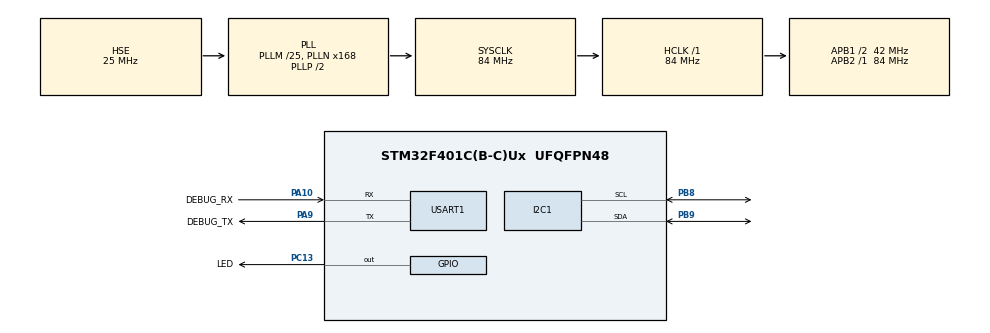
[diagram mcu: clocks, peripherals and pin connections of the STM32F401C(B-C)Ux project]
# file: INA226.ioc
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Mcu.Family=STM32F4
Mcu.Name=STM32F401C(B-C)Ux
Mcu.Package=UFQFPN48
NVIC.PriorityGroup=NVIC_PRIORITYGROUP_4
PA10.GPIO_Label=DEBUG_RX
PA10.Mode=Asynchronous
PA10.Signal=USART1_RX
PA13.Mode=Serial_Wire
PA13.Signal=SYS_JTMS-SWDIO
PA14.Mode=Serial_Wire
PA14.Signal=SYS_JTCK-SWCLK
PA9.GPIO_Label=DEBUG_TX
PA9.Mode=Asynchronous
PA9.Signal=USART1_TX
PB8.Mode=I2C
PB8.Signal=I2C1_SCL
PB9.Mode=I2C
PB9.Signal=I2C1_SDA
PC13-ANTI_TAMP.GPIO_Label=LED
PC13-ANTI_TAMP.Signal=GPIO_Output
PH0\ -\ OSC_IN.Mode=HSE-External-Oscillator
PH0\ -\ OSC_IN.Signal=RCC_OSC_IN
PH1\ -\ OSC_OUT.Mode=HSE-External-Oscillator
PH1\ -\ OSC_OUT.Signal=RCC_OSC_OUT
ProjectManager.HeapSize=0x200
ProjectManager.StackSize=0x400
ProjectManager.TargetToolchain=STM32CubeIDE
RCC.48MHZClocksFreq_Value=42000000
RCC.AHBFreq_Value=84000000
RCC.APB1CLKDivider=RCC_HCLK_DIV2
RCC.APB1Freq_Value=42000000
RCC.APB1TimFreq_Value=84000000
RCC.APB2Freq_Value=84000000
RCC.APB2TimFreq_Value=84000000
RCC.CortexFreq_Value=84000000
RCC.EnbaleCSS=true
RCC.HCLKFreq_Value=84000000
RCC.HSE_VALUE=25000000
RCC.HSI_VALUE=16000000
RCC.LSE_VALUE=32768
RCC.PLLM=25
RCC.PLLN=168
RCC.PLLSourceVirtual=RCC_PLLSOURCE_HSE
RCC.SYSCLKFreq_VALUE=84000000
RCC.SYSCLKSource=RCC_SYSCLKSOURCE_PLLCLK
RCC.VCOOutputFreq_Value=168000000
USART1.VirtualMode=VM_ASYNC
board=custom

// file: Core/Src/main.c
/* USER CODE BEGIN Header */
/**
  ******************************************************************************
  * @file           : main.c
  * @brief          : Main program body
  ******************************************************************************
  * @attention
  *
  * Copyright (c) 2025 STMicroelectronics.
  * All rights reserved.
  *
  * This software is licensed under terms that can be found in the LICENSE file
  * in the root directory of this software component.
  * If no LICENSE file comes with this software, it is provided AS-IS.
  *
  ******************************************************************************
  */
/* USER CODE END Header */
#include "main.h"

/* USER CODE BEGIN Includes */
//need for uart
#include <stdarg.h>
#include <string.h>
#include <stdio.h>

#include <stdbool.h>

/* USER CODE END Includes */

I2C_HandleTypeDef hi2c1;

UART_HandleTypeDef huart1;

/* USER CODE BEGIN PV */
// I²C address (7-bit <<1 for HAL)
#ifndef INA226_I2C_ADDR
  #define INA226_I2C_ADDR   (0x40 << 1)
#endif

// Registers
#define INA226_REG_CONF     0x00
#define INA226_REG_CALIB    0x05

// Conversion settings: 1 sample, 1.1 ms each, continuous shunt+bus
#define INA226_CONF_DEFAULT (0x0000 | 0x0100 | 0x0080 | 0x0007)

// Shunt & range
#define INA226_SHUNT_OHM    0.00075f    // 0.75 mΩ
#define INA226_I_MAX        100.0f      // 100 A

// Derived LSB & calibration
#define INA226_CURRENT_LSB  (INA226_I_MAX / 32768.0f)
#define INA226_CALIB_VALUE  ((uint16_t)(0.00512f / (INA226_CURRENT_LSB * INA226_SHUNT_OHM)))

#define UART1_BUFFER_SIZE 100
uint8_t uart1_rx_buffer[UART1_BUFFER_SIZE];
uint8_t uart1_rx_char;
uint16_t uart1_rx_index = 0;

/* USER CODE END PV */

void SystemClock_Config(void);
static void MX_GPIO_Init(void);
static void MX_I2C1_Init(void);
static void MX_USART1_UART_Init(void);
/* USER CODE BEGIN PFP */
void processUart1Command(char *command); // For USART1 commands
void debugFTDI(const char *fmt, ...);
/* USER CODE END PFP */

/* USER CODE BEGIN 0 */
/**
 * @brief  Initialize the INA226: reset, configure conversion, set calibration.
 * @param  hi2c  Pointer to your HAL I2C handle (e.g. &hi2c1)
 * @return true if all writes succeeded and the device ACK’d, false otherwise
 */
bool INA226_Init(I2C_HandleTypeDef *hi2c)
{
    uint8_t buf[3];

    // 1) Reset device (bit-15 = 1)
    buf[0] = INA226_REG_CONF;
    buf[1] = 0x80;  // reset MSB
    buf[2] = 0x00;  // reset LSB
    if (HAL_I2C_Master_Transmit(hi2c, INA226_I2C_ADDR, buf, 3, HAL_MAX_DELAY) != HAL_OK) {
        return false;
    }
    HAL_Delay(1);

    // 2) Write default configuration
    buf[0] = INA226_REG_CONF;
    buf[1] = (uint8_t)(INA226_CONF_DEFAULT >> 8);
    buf[2] = (uint8_t)(INA226_CONF_DEFAULT & 0xFF);
    if (HAL_I2C_Master_Transmit(hi2c, INA226_I2C_ADDR, buf, 3, HAL_MAX_DELAY) != HAL_OK) {
        return false;
    }

    // 3) Write calibration register
    buf[0] = INA226_REG_CALIB;
    buf[1] = (uint8_t)(INA226_CALIB_VALUE >> 8);
    buf[2] = (uint8_t)(INA226_CALIB_VALUE & 0xFF);
    if (HAL_I2C_Master_Transmit(hi2c, INA226_I2C_ADDR, buf, 3, HAL_MAX_DELAY) != HAL_OK) {
        return false;
    }

    return true;
}
void debugFTDI(const char *fmt, ...) {
	char buf[450];
	va_list args;
	va_start(args, fmt);
	int len = vsnprintf(buf, sizeof(buf), fmt, args);
	va_end(args);

	if (len > 0) {
		// ensure we don’t overrun if vsnprintf truncated
		uint16_t txlen = (len < sizeof(buf)) ? len : (sizeof(buf) - 1);
		HAL_UART_Transmit(&huart1, (uint8_t*) buf, txlen, HAL_MAX_DELAY);
	}
}

/**
 * @brief Processes UART commands received on USART1.
 * @param command The command string to process.
 */
void processUart1Command(char *command) {
	debugFTDI("Received command: [%s]\r\n", command);
	// Remove any trailing \r or \n characters
	size_t len = strlen(command);
	while (len > 0 && (command[len - 1] == '\r' || command[len - 1] == '\n')) {
		command[--len] = '\0';
	}

	// Get the first token separated by "/"
	char *token = strtok(command, "/");
	while (token != NULL) {
		debugFTDI("Processing token: [%s]\r\n", token);
		// Find the colon separator position manually
		char *colonPos = strchr(token, ':');

		if (colonPos != NULL) {
			// Null-terminate the key part
			*colonPos = '\0';
			char *key = token;
			char *valueStr = colonPos + 1;  // Value starts after the colon

			// Debug key-value pair
			char debugPair[100];
			snprintf(debugPair, sizeof(debugPair), "Key: [%s], Value: [%s]\r\n",
					key, valueStr);
			HAL_UART_Transmit(&huart1, (uint8_t*) debugPair, strlen(debugPair),
			HAL_MAX_DELAY);

			if (strcmp(key, "WRITE_ENABLE_PWM") == 0) {
//				char msg[50];
//				snprintf(msg, sizeof(msg), "WRITE_ENABLE_PWM command: %s\r\n",
//						key);
//				HAL_UART_Transmit(&huart1, (uint8_t*) msg, strlen(msg),
//				HAL_MAX_DELAY);
//				enablePwmMain();
			}
			// Other command handlers follow the same pattern...
			else {
				// Unknown command
				char msg[50];
				snprintf(msg, sizeof(msg), "Unknown command: %s\r\n", key);
				HAL_UART_Transmit(&huart1, (uint8_t*) msg, strlen(msg),
				HAL_MAX_DELAY);
			}
		}

		// Get next token
		token = strtok(NULL, "/");
	}
}
/**
 * @brief UART Receive Complete Callback with improved buffering.
 * @param huart UART handle.
 */
void HAL_UART_RxCpltCallback(UART_HandleTypeDef *huart) {
	if (huart->Instance == USART1) {
		HAL_GPIO_TogglePin(LED_GPIO_Port, LED_Pin);

		// Check if the received character is a newline
		if (uart1_rx_char == '\n') {
			// Terminate the string properly
			if (uart1_rx_index > 0
					&& uart1_rx_buffer[uart1_rx_index - 1] == '\r') {
				uart1_rx_buffer[uart1_rx_index - 1] = '\0'; // Remove \r
			} else {
				uart1_rx_buffer[uart1_rx_index] = '\0'; // Just add null terminator
			}

			// Process the complete command
			processUart1Command((char*) uart1_rx_buffer);

			// Reset buffer index for next command
			uart1_rx_index = 0;
		}
		// Handle normal character storage (not newline or carriage return)
		else if (uart1_rx_char != '\r'
				&& uart1_rx_index < UART1_BUFFER_SIZE - 1) {
			uart1_rx_buffer[uart1_rx_index++] = uart1_rx_char;
		}

		// Always restart reception for next character
		HAL_UART_Receive_IT(&huart1, &uart1_rx_char, 1);
	}
}
/* USER CODE END 0 */

int main(void)
{

  /* MCU Configuration--------------------------------------------------------*/

  /* Reset of all peripherals, Initializes the Flash interface and the Systick. */
  HAL_Init();

  /* Configure the system clock */
  SystemClock_Config();

  /* Initialize all configured peripherals */
  MX_GPIO_Init();
  MX_I2C1_Init();
  MX_USART1_UART_Init();
  /* USER CODE BEGIN 2 */
  HAL_UART_Receive_IT(&huart1, &uart1_rx_char, 1);  // Start UART reception
  if (!INA226_Init(&hi2c1)) {
      debugFTDI("INA226 init FAILED!\r\n");
      while (1);
  }
  /* USER CODE END 2 */

  /* Infinite loop */
  /* USER CODE BEGIN WHILE */
  while (1)
  {
	  HAL_GPIO_TogglePin(LED_GPIO_Port, LED_Pin);
	  TestINA226(&hi2c1);
	  HAL_Delay(500);
    /* USER CODE END WHILE */

  }
}

void SystemClock_Config(void)
{
  RCC_OscInitTypeDef RCC_OscInitStruct = {0};
  RCC_ClkInitTypeDef RCC_ClkInitStruct = {0};

  /** Configure the main internal regulator output voltage
  */
  __HAL_RCC_PWR_CLK_ENABLE();
  __HAL_PWR_VOLTAGESCALING_CONFIG(PWR_REGULATOR_VOLTAGE_SCALE2);

  /** Initializes the RCC Oscillators according to the specified parameters
  * in the RCC_OscInitTypeDef structure.
  */
  RCC_OscInitStruct.OscillatorType = RCC_OSCILLATORTYPE_HSE;
  RCC_OscInitStruct.HSEState = RCC_HSE_ON;
  RCC_OscInitStruct.PLL.PLLState = RCC_PLL_ON;
  RCC_OscInitStruct.PLL.PLLSource = RCC_PLLSOURCE_HSE;
  RCC_OscInitStruct.PLL.PLLM = 25;
  RCC_OscInitStruct.PLL.PLLN = 168;
  RCC_OscInitStruct.PLL.PLLP = RCC_PLLP_DIV2;
  RCC_OscInitStruct.PLL.PLLQ = 4;
  if (HAL_RCC_OscConfig(&RCC_OscInitStruct) != HAL_OK)
  {
    Error_Handler();
  }

  /** Initializes the CPU, AHB and APB buses clocks
  */
  RCC_ClkInitStruct.ClockType = RCC_CLOCKTYPE_HCLK|RCC_CLOCKTYPE_SYSCLK
                              |RCC_CLOCKTYPE_PCLK1|RCC_CLOCKTYPE_PCLK2;
  RCC_ClkInitStruct.SYSCLKSource = RCC_SYSCLKSOURCE_PLLCLK;
  RCC_ClkInitStruct.AHBCLKDivider = RCC_SYSCLK_DIV1;
  RCC_ClkInitStruct.APB1CLKDivider = RCC_HCLK_DIV2;
  RCC_ClkInitStruct.APB2CLKDivider = RCC_HCLK_DIV1;

  if (HAL_RCC_ClockConfig(&RCC_ClkInitStruct, FLASH_LATENCY_2) != HAL_OK)
  {
    Error_Handler();
  }

  /** Enables the Clock Security System
  */
  HAL_RCC_EnableCSS();
}

static void MX_I2C1_Init(void)
{

  hi2c1.Instance = I2C1;
  hi2c1.Init.ClockSpeed = 100000;
  hi2c1.Init.DutyCycle = I2C_DUTYCYCLE_2;
  hi2c1.Init.OwnAddress1 = 0;
  hi2c1.Init.AddressingMode = I2C_ADDRESSINGMODE_7BIT;
  hi2c1.Init.DualAddressMode = I2C_DUALADDRESS_DISABLE;
  hi2c1.Init.OwnAddress2 = 0;
  hi2c1.Init.GeneralCallMode = I2C_GENERALCALL_DISABLE;
  hi2c1.Init.NoStretchMode = I2C_NOSTRETCH_DISABLE;
  if (HAL_I2C_Init(&hi2c1) != HAL_OK)
  {
    Error_Handler();
  }

}

static void MX_USART1_UART_Init(void)
{

  huart1.Instance = USART1;
  huart1.Init.BaudRate = 115200;
  huart1.Init.WordLength = UART_WORDLENGTH_8B;
  huart1.Init.StopBits = UART_STOPBITS_1;
  huart1.Init.Parity = UART_PARITY_NONE;
  huart1.Init.Mode = UART_MODE_TX_RX;
  huart1.Init.HwFlowCtl = UART_HWCONTROL_NONE;
  huart1.Init.OverSampling = UART_OVERSAMPLING_16;
  if (HAL_UART_Init(&huart1) != HAL_OK)
  {
    Error_Handler();
  }

}

static void MX_GPIO_Init(void)
{
  GPIO_InitTypeDef GPIO_InitStruct = {0};

  /* GPIO Ports Clock Enable */
  __HAL_RCC_GPIOC_CLK_ENABLE();
  __HAL_RCC_GPIOH_CLK_ENABLE();
  __HAL_RCC_GPIOA_CLK_ENABLE();
  __HAL_RCC_GPIOB_CLK_ENABLE();

  /*Configure GPIO pin Output Level */
  HAL_GPIO_WritePin(LED_GPIO_Port, LED_Pin, GPIO_PIN_RESET);

  /*Configure GPIO pin : LED_Pin */
  GPIO_InitStruct.Pin = LED_Pin;
  GPIO_InitStruct.Mode = GPIO_MODE_OUTPUT_PP;
  GPIO_InitStruct.Pull = GPIO_NOPULL;
  GPIO_InitStruct.Speed = GPIO_SPEED_FREQ_LOW;
  HAL_GPIO_Init(LED_GPIO_Port, &GPIO_InitStruct);

}

void Error_Handler(void)
{
  __disable_irq();
  while (1)
  {
  }
}
